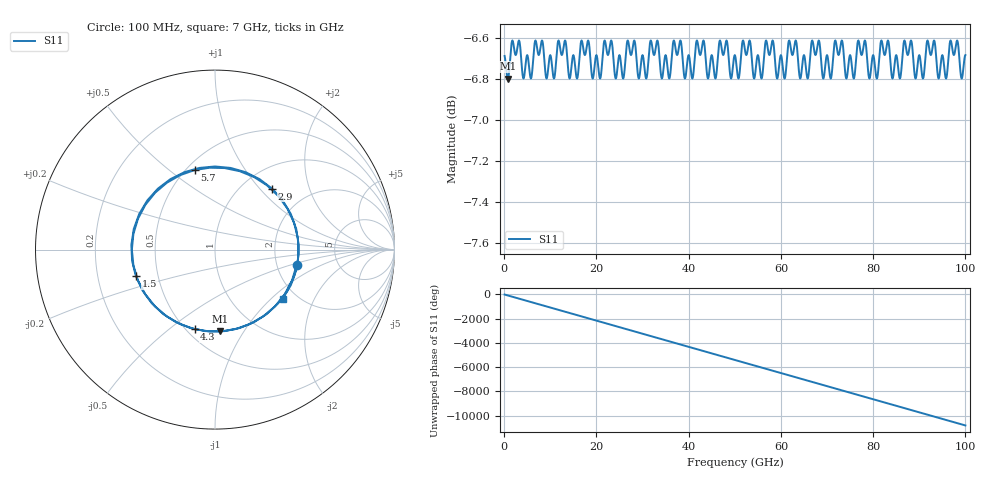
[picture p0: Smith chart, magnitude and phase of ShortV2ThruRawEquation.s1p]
! File created by SignalIntegrity v1.1.4: Signal and Power Integrity Tools
! https://github.com/TeledyneLeCroy/SignalIntegrity
# MHz MA S R 50.0
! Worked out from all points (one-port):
!   1000 points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, 100 MHz to 100 GHz, reference 50 ohm
!   lowest |S11| = -6.8 dB at 800 MHz (marker M1), VSWR 2.68, Z = 34.4 - j39.7 ohm
!   |S11| at or under -10 dB: nowhere
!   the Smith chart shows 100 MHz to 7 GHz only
!   S11 on the Smith chart (normalised r, x): 100 MHz: 2.57, -0.57; 1.5 GHz: 0.37, -0.14; 2.9 GHz: 1.35, +1.17; 4.3 GHz: 0.55, -0.62; 5.7 GHz: 0.55, +0.62; 7 GHz: 1.69, -1.18
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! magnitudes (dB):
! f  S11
! 100 MHz  -6.7
! 800 MHz  -6.8
! 1.5 GHz  -6.6
! 2.9 GHz  -6.6
! 4.3 GHz  -6.8
! 5.7 GHz  -6.8
! 7 GHz  -6.6
! 9.2 GHz  -6.8
! 12.6 GHz  -6.7
! 14.2 GHz  -6.8
! 16.9 GHz  -6.6
! 19.2 GHz  -6.8
! 21.9 GHz  -6.6
! 25.1 GHz  -6.7
! 37.6 GHz  -6.7
! 39.2 GHz  -6.8
! 50.1 GHz  -6.7
! 62.6 GHz  -6.7
! 64.2 GHz  -6.8
! 66.9 GHz  -6.6
! 69.2 GHz  -6.8
! 71.9 GHz  -6.6
! 75.1 GHz  -6.7
! 87.6 GHz  -6.7
! 89.2 GHz  -6.8
! 91.9 GHz  -6.6
! 94.2 GHz  -6.8
! 100 GHz  -6.7
